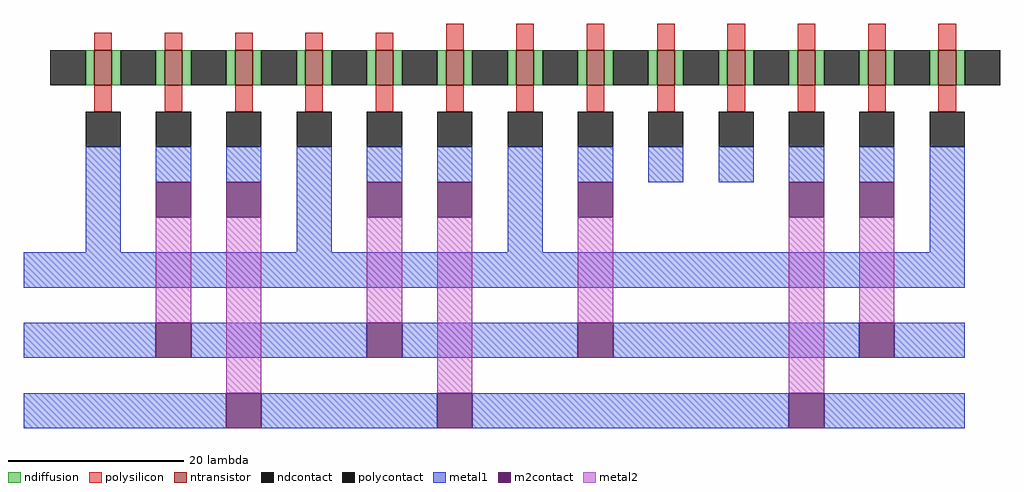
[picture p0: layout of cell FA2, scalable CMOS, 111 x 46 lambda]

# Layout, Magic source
magic
tech scmos
<< polysilicon >>
rect -20 17 -18 19
rect -12 17 -10 19
rect -4 17 -2 19
rect 4 17 6 19
rect 12 17 14 19
rect 20 17 22 20
rect 28 17 30 20
rect 36 17 38 20
rect 44 17 46 20
rect 52 17 54 20
rect 60 17 62 20
rect 68 17 70 20
rect 76 17 78 20
rect -20 10 -18 13
rect -12 10 -10 13
rect -4 10 -2 13
rect 4 10 6 13
rect 12 10 14 13
rect 20 10 22 13
rect 28 10 30 13
rect 36 10 38 13
rect 44 10 46 13
rect 52 10 54 13
rect 60 10 62 13
rect 68 10 70 13
rect 76 10 78 13
<< ndiffusion >>
rect -21 13 -20 17
rect -18 13 -17 17
rect -13 13 -12 17
rect -10 13 -9 17
rect -5 13 -4 17
rect -2 13 -1 17
rect 3 13 4 17
rect 6 13 7 17
rect 11 13 12 17
rect 14 13 15 17
rect 19 13 20 17
rect 22 13 23 17
rect 27 13 28 17
rect 30 13 31 17
rect 35 13 36 17
rect 38 13 39 17
rect 43 13 44 17
rect 46 13 47 17
rect 51 13 52 17
rect 54 13 55 17
rect 59 13 60 17
rect 62 13 63 17
rect 67 13 68 17
rect 70 13 71 17
rect 75 13 76 17
rect 78 13 79 17
<< metal1 >>
rect -21 -6 -17 6
rect -13 2 -9 6
rect -5 2 -1 6
rect 3 -6 7 6
rect 11 2 15 6
rect 19 2 23 6
rect 27 -6 31 6
rect 35 2 39 6
rect 43 2 47 6
rect 51 2 55 6
rect 59 2 63 6
rect 67 2 71 6
rect 75 -6 79 6
rect -28 -10 79 -6
rect -28 -18 -13 -14
rect -9 -18 11 -14
rect 15 -18 35 -14
rect 39 -18 67 -14
rect 71 -18 79 -14
rect -28 -26 -5 -22
rect -1 -26 19 -22
rect 23 -26 59 -22
rect 63 -26 79 -22
<< metal2 >>
rect -13 -14 -9 -2
rect -5 -22 -1 -2
rect 11 -14 15 -2
rect 19 -22 23 -2
rect 35 -14 39 -2
rect 59 -22 63 -2
rect 67 -14 71 -2
<< ntransistor >>
rect -20 13 -18 17
rect -12 13 -10 17
rect -4 13 -2 17
rect 4 13 6 17
rect 12 13 14 17
rect 20 13 22 17
rect 28 13 30 17
rect 36 13 38 17
rect 44 13 46 17
rect 52 13 54 17
rect 60 13 62 17
rect 68 13 70 17
rect 76 13 78 17
<< polycontact >>
rect -21 6 -17 10
rect -13 6 -9 10
rect -5 6 -1 10
rect 3 6 7 10
rect 11 6 15 10
rect 19 6 23 10
rect 27 6 31 10
rect 35 6 39 10
rect 43 6 47 10
rect 51 6 55 10
rect 59 6 63 10
rect 67 6 71 10
rect 75 6 79 10
<< ndcontact >>
rect -25 13 -21 17
rect -17 13 -13 17
rect -9 13 -5 17
rect -1 13 3 17
rect 7 13 11 17
rect 15 13 19 17
rect 23 13 27 17
rect 31 13 35 17
rect 39 13 43 17
rect 47 13 51 17
rect 55 13 59 17
rect 63 13 67 17
rect 71 13 75 17
rect 79 13 83 17
<< m2contact >>
rect -13 -2 -9 2
rect -5 -2 -1 2
rect 11 -2 15 2
rect 19 -2 23 2
rect 35 -2 39 2
rect 59 -2 63 2
rect 67 -2 71 2
rect -13 -18 -9 -14
rect 11 -18 15 -14
rect 35 -18 39 -14
rect 67 -18 71 -14
rect -5 -26 -1 -22
rect 19 -26 23 -22
rect 59 -26 63 -22
<< end >>
